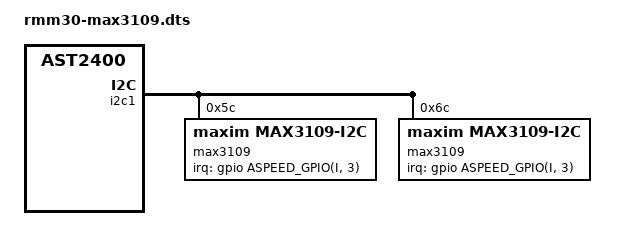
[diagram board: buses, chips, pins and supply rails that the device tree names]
/dts-v1/;
/plugin/;

#include <dt-bindings/gpio/gpio.h>
#include <dt-bindings/gpio/aspeed-gpio.h>
#include <dt-bindings/interrupt-controller/irq.h>

/ {
	compatible = "aspeed,ast2400";

	fragment@0 {
		target-path = "/";
		__overlay__ {
			max_clk: max_clk@0 {
				compatible = "fixed-clock";
				#clock-cells = <0>;
				clock-frequency = <4000000>;
			};
		};
	};

	fragment@1 {
		target = <&i2c1>;
		__overlay__ {
			status = "okay";
			bus-frequency = <400000>;
			max3109@5c {
				compatible = "maxim,max3109-i2c";
				reg = <0x5c>;
				clocks = <&max_clk>;
				clock-names = "xtal";
				interrupt-parent = <&gpio>;
				interrupts = <ASPEED_GPIO(I, 3) IRQ_TYPE_EDGE_FALLING>;
				global-irq-idx = <1>;
			};
			max3109@6c {
				compatible = "maxim,max3109-i2c";
				reg = <0x6c>;
				clocks = <&max_clk>;
				clock-names = "xtal";
				interrupt-parent = <&gpio>;
				interrupts = <ASPEED_GPIO(I, 3) IRQ_TYPE_EDGE_FALLING>;
				global-irq-idx = <0>;
			};
		};
	};

};
